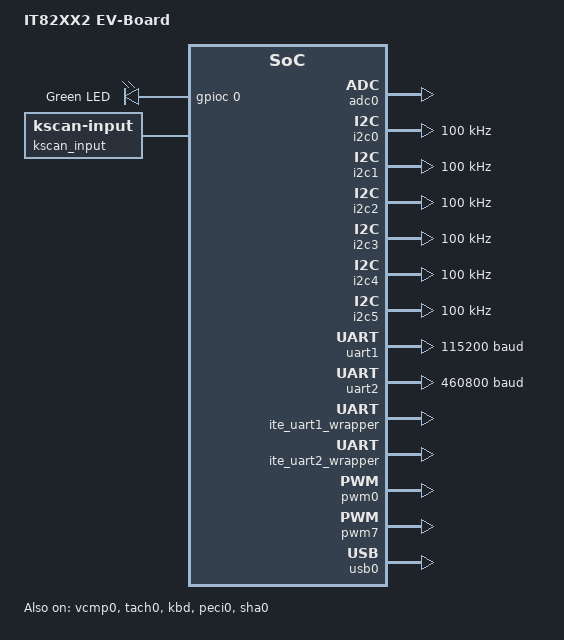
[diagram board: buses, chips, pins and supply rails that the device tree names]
/*
 * Copyright (c) ITE, All Rights Reserved
 * SPDX-License-Identifier: Apache-2.0
 */

/dts-v1/;

#include <zephyr/dt-bindings/gpio/gpio.h>
#include <ite/it82xx2.dtsi>
#include <ite/it8xxx2-pinctrl-map.dtsi>

/ {
	model = "IT82XX2 EV-Board";
	compatible = "ite,it82xx2-evb";

	aliases {
		i2c-0 = &i2c0;
		peci-0 = &peci0;
		led0 = &led0;
		kscan0 = &kscan_input;
		watchdog0 = &twd0;
		pwm-0 = &pwm0;
	};

	chosen {
		zephyr,console = &uart1;
		zephyr,shell-uart = &uart1;
		zephyr,bt-hci = &bt_hci_uart;
		zephyr,sram = &sram0;
		zephyr,flash = &flash0;
		zephyr,flash-controller = &flashctrl;
		zephyr,code-partition = &slot0_partition;
		zephyr,keyboard-scan = &kscan_input;
	};

	leds {
		compatible = "gpio-leds";
		led0: led_0 {
			gpios = <&gpioc 0 GPIO_ACTIVE_HIGH>;
			label = "Green LED";
		};
	};
};

&adc0 {
	status = "okay";
	pinctrl-0 = <&adc0_ch3_gpi3_default>;
	pinctrl-names = "default";
};

/* voltage comparator for test */
&vcmp0 {
	status = "okay";
	scan-period = <IT8XXX2_VCMP_SCAN_PERIOD_600US>;
	comparison = <IT8XXX2_VCMP_GREATER>;
	threshold-mv = <2000>;
	io-channels = <&adc0 3>;
};

&i2c0 {
	status = "okay";
	clock-frequency = <I2C_BITRATE_STANDARD>;
	pinctrl-0 = <&i2c0_clk_gpb3_default
		     &i2c0_data_gpb4_default>;
	pinctrl-names = "default";
};

&i2c1 {
	status = "okay";
	clock-frequency = <I2C_BITRATE_STANDARD>;
	pinctrl-0 = <&i2c1_clk_gpc1_default
		     &i2c1_data_gpc2_default>;
	pinctrl-names = "default";
};

&i2c2 {
	status = "okay";
	clock-frequency = <I2C_BITRATE_STANDARD>;
	pinctrl-0 = <&i2c2_clk_gpf6_default
		     &i2c2_data_gpf7_default>;
	pinctrl-names = "default";
};

&i2c3 {
	status = "okay";
	clock-frequency = <I2C_BITRATE_STANDARD>;
	pinctrl-0 = <&i2c3_clk_gph1_default
		     &i2c3_data_gph2_default>;
	pinctrl-names = "default";
};

&i2c4 {
	status = "okay";
	clock-frequency = <I2C_BITRATE_STANDARD>;
	pinctrl-0 = <&i2c4_clk_gpe0_default
		     &i2c4_data_gpe7_default>;
	pinctrl-names = "default";
};

&i2c5 {
	status = "okay";
	clock-frequency = <I2C_BITRATE_STANDARD>;
	pinctrl-0 = <&i2c5_clk_gpa4_default
		     &i2c5_data_gpa5_default>;
	pinctrl-names = "default";
};

&uart1 {
	status = "okay";
	current-speed = <115200>;
	clock-frequency = <1843200>;
};

&uart2 {
	status = "okay";
	current-speed = <460800>;
	clock-frequency = <1843200>;

	bt_hci_uart: bt_hci_uart {
		compatible = "zephyr,bt-hci-uart";
		status = "okay";
	};
};

&ite_uart1_wrapper {
	status = "okay";
	pinctrl-0 = <&uart1_rx_gpb0_default
		     &uart1_tx_gpb1_default>;
	pinctrl-names = "default";
};

&ite_uart2_wrapper {
	status = "okay";
	pinctrl-0 = <&uart2_rx_gpf0_default
		     &uart2_tx_gpf1_default>;
	pinctrl-names = "default";
};

/* pwm for test */
&pwm0 {
	status = "okay";
	prescaler-cx = <PWM_PRESCALER_C6>;
	/*
	 * If we need pwm output in ITE chip power saving mode,
	 * then we should set frequency <=324Hz.
	 */
	pwm-output-frequency = <324>;
	pinctrl-0 = <&pwm0_gpa0_default>;
	pinctrl-names = "default";
};

/* pwm for fan */
&pwm7 {
	status = "okay";
	prescaler-cx = <PWM_PRESCALER_C4>;
	pwm-output-frequency = <30000>;
	pinctrl-0 = <&pwm7_gpa7_default>;
	pinctrl-names = "default";
};

/* fan tachometer sensor */
&tach0 {
	status = "okay";
	channel = <IT8XXX2_TACH_CHANNEL_A>;
	pulses-per-round = <2>;
	pinctrl-0 = <&tach0a_gpd6_default>;
	pinctrl-names = "default";
};

&kbd {
	status = "okay";
	pinctrl-0 = <&ksi0_default
		     &ksi1_default
		     &ksi2_default
		     &ksi3_default
		     &ksi4_default
		     &ksi5_default
		     &ksi6_default
		     &ksi7_default
		     &kso0_default
		     &kso1_default
		     &kso2_default
		     &kso3_default
		     &kso4_default
		     &kso5_default
		     &kso6_default
		     &kso7_default
		     &kso8_default
		     &kso9_default
		     &kso10_default
		     &kso11_default
		     &kso12_default
		     &kso13_default
		     &kso14_default
		     &kso15_default>;
	pinctrl-names = "default";
	row-size = <8>;
	col-size = <16>;

	kscan_input: kscan-input {
		compatible = "zephyr,kscan-input";
	};
};

&peci0 {
	status = "okay";
	pinctrl-0 = <&peci_gpf6_default>;
	pinctrl-names = "default";
};

&sha0 {
	status = "okay";
};

zephyr_udc0: &usb0 {
	status = "okay";
	pinctrl-0 = <&usb0_dm_gph5_default
		     &usb0_dp_gph6_default>;
	pinctrl-names = "default";
};

&flash0 {
	partitions {
		compatible = "fixed-partitions";
		#address-cells = <1>;
		#size-cells = <1>;
		slot0_partition: partition@0 {
			label = "image-0";
			reg = <0x00000000 DT_SIZE_K(128)>;
		};
		slot1_partition: partition@20000 {
			label = "image-1";
			reg = <0x00020000 DT_SIZE_K(128)>;
		};
		storage_partition: partition@40000 {
			label = "storage";
			reg = <0x00040000 DT_SIZE_K(256)>;
		};
	};
};
